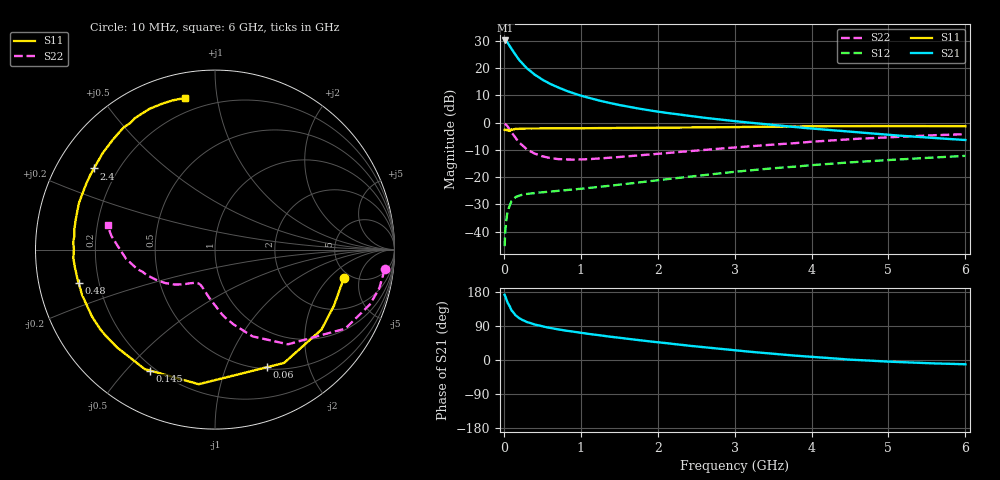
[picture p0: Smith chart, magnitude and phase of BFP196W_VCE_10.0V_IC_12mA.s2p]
! Infineon Technologies  Discrete & RF Semiconductors
! BFP196W
! VCE = 10.0V,  IC =  12mA
! Common Emitter S-Parameters:  Jan 2016
# GHz  S  MA  R  50
!  f  S11  S21  S12  S22
! GHz  MAG  ANG  MAG  ANG  MAG  ANG  MAG  ANG
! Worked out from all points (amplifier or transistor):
!   210 points, 10 MHz to 6 GHz, reference 50 ohm
!   highest |S21| = 30.2 dB at 20 MHz (marker M1)
!   |S21| within 3 dB of that: start of sweep to 98.55 MHz
!   unconditionally stable (mu >= 1): 1.161 GHz to 3.435 GHz
!   at 185 MHz: K = 0.23, MSG = 25.3 dB, |S12| = -27.0 dB
!   at 1.52 GHz: K = 1.11, MAG = 12.5 dB, |S12| = -22.7 dB
!   at 6 GHz: K = 0.93, MSG = 2.9 dB, |S12| = -12.2 dB
!   S11 on the Smith chart (normalised r, x): 10 MHz: 4.40, -3.02; 60 MHz: 0.52, -1.40; 145 MHz: 0.18, -0.58; 480 MHz: 0.12, -0.12; 2.4 GHz: 0.11, +0.30; 6 GHz: 0.12, +0.81
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0.01  0.7352 -12.4  32.21 172.0  0.0054 75.7  0.9523 -6.6
0.02  0.7327 -25.2  32.24 167.5  0.0106 75.8  0.9403 -13.3
0.03  0.7419 -36.9  31.52 161.8  0.0153 72.0  0.9156 -19.5
0.05  0.7395 -58.6  29.26 150.7  0.0238 63.1  0.8492 -31.2
0.06  0.7163 -66.1  27.72 147.5  0.0261 58.4  0.805 -34.6
0.1  0.7554 -96.9  22.68 131.0  0.0363 46.1  0.6661 -52.4
0.145  0.7649 -118.2  18.16 119.8  0.0422 37.7  0.5389 -64.9
0.15  0.7723 -120.5  17.72 118.2  0.0429 36.9  0.5268 -66.6
0.2  0.7712 -134.9  14.1 110.2  0.0457 31.8  0.4309 -75.9
0.26  0.7782 -145.6  11.37 103.8  0.0482 28.4  0.3615 -84.0
0.3  0.7802 -151.6  9.916 100.2  0.0491 27.2  0.3225 -88.3
0.4  0.7824 -161.1  7.607 93.6  0.0511 26.1  0.271 -96.7
0.48  0.7824 -166.4  6.443 89.8  0.0522 26.6  0.2469 -101.5
0.7  0.7908 -176.5  4.466 81.0  0.0557 29.0  0.2146 -110.8
1.02  0.7882 173.9  3.075 71.4  0.0614 33.7  0.2114 -118.9
1.4  0.796 165.2  2.258 61.1  0.0699 39.2  0.228 -124.9
2.02  0.8054 153.0  1.578 46.4  0.0884 45.3  0.269 -133.8
2.4  0.8126 146.2  1.333 37.8  0.1014 47.0  0.2988 -139.4
3.1  0.8322 134.6  1.03 23.8  0.1291 46.9  0.3591 -151.1
4.1  0.8583 120.1  0.759 6.9  0.1698 42.9  0.4558 -167.7
5.1  0.8642 108.9  0.583 -5.1  0.2096 36.4  0.5475 177.1
6  0.8615 101.3  0.48 -11.2  0.2453 30.4  0.6139 167.3
